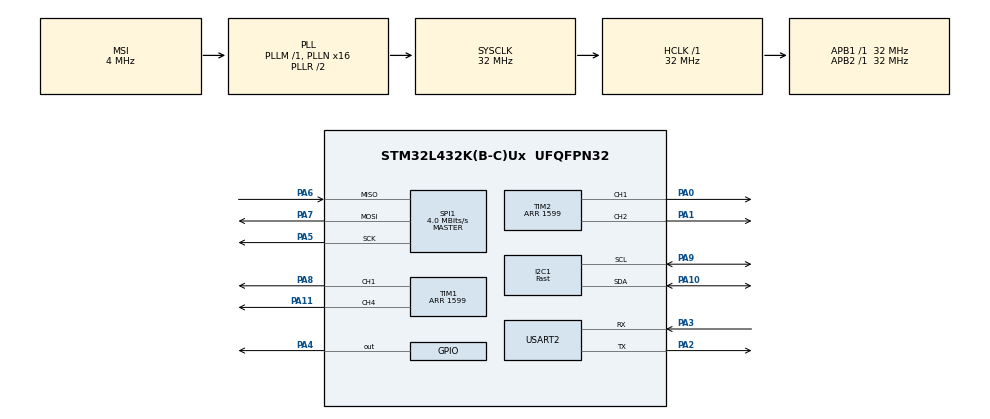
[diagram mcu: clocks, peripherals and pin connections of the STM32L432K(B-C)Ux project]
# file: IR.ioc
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I2C1.I2C_Speed_Mode=I2C_Fast
I2C1.Speed=400
I2C1.Timing=0x0060112F
Mcu.Family=STM32L4
Mcu.Name=STM32L432K(B-C)Ux
Mcu.Package=UFQFPN32
NVIC.PriorityGroup=NVIC_PRIORITYGROUP_4
PA0.Signal=S_TIM2_CH1
PA1.Signal=S_TIM2_CH2
PA10.Mode=I2C
PA10.Signal=I2C1_SDA
PA11.Signal=S_TIM1_CH4
PA2.Mode=Asynchronous
PA2.Signal=USART2_TX
PA3.Mode=Asynchronous
PA3.Signal=USART2_RX
PA4.Signal=GPIO_Output
PA5.Mode=Full_Duplex_Master
PA5.Signal=SPI1_SCK
PA6.Mode=Full_Duplex_Master
PA6.Signal=SPI1_MISO
PA7.Mode=Full_Duplex_Master
PA7.Signal=SPI1_MOSI
PA8.Signal=S_TIM1_CH1
PA9.Mode=I2C
PA9.Signal=I2C1_SCL
ProjectManager.HeapSize=0x200
ProjectManager.StackSize=0x400
ProjectManager.TargetToolchain=STM32CubeIDE
RCC.AHBFreq_Value=32000000
RCC.APB1Freq_Value=32000000
RCC.APB1TimFreq_Value=32000000
RCC.APB2Freq_Value=32000000
RCC.APB2TimFreq_Value=32000000
RCC.CortexFreq_Value=32000000
RCC.HCLKFreq_Value=32000000
RCC.HSE_VALUE=8000000
RCC.HSI16_VALUE=16000000
RCC.HSI48_VALUE=48000000
RCC.HSI_VALUE=16000000
RCC.LSE_VALUE=32768
RCC.MSI_VALUE=4000000
RCC.PLLMUL=RCC_PLLMUL_4
RCC.PLLN=16
RCC.SYSCLKFreq_VALUE=32000000
RCC.SYSCLKSource=RCC_SYSCLKSOURCE_PLLCLK
RCC.VCOOutputFreq_Value=64000000
SH.S_TIM1_CH1.0=TIM1_CH1,PWM Generation1 CH1
SH.S_TIM1_CH4.0=TIM1_CH4,PWM Generation4 CH4
SH.S_TIM2_CH1.0=TIM2_CH1,PWM Generation1 CH1
SH.S_TIM2_CH2.0=TIM2_CH2,PWM Generation2 CH2
SPI1.BaudRatePrescaler=SPI_BAUDRATEPRESCALER_8
SPI1.CLKPhase=SPI_PHASE_2EDGE
SPI1.CLKPolarity=SPI_POLARITY_HIGH
SPI1.CalculateBaudRate=4.0 MBits/s
SPI1.DataSize=SPI_DATASIZE_8BIT
SPI1.Direction=SPI_DIRECTION_2LINES
SPI1.Mode=SPI_MODE_MASTER
SPI1.VirtualType=VM_MASTER
TIM1.Channel-PWM\ Generation1\ CH1=TIM_CHANNEL_1
TIM1.Channel-PWM\ Generation4\ CH4=TIM_CHANNEL_4
TIM1.Period=1599
TIM2.Channel-PWM\ Generation1\ CH1=TIM_CHANNEL_1
TIM2.Channel-PWM\ Generation2\ CH2=TIM_CHANNEL_2
TIM2.Period=1599
USART2.VirtualMode-Asynchronous=VM_ASYNC
VP_TIM1_VS_ClockSourceINT.Mode=Internal
VP_TIM2_VS_ClockSourceINT.Mode=Internal
board=NUCLEO-L432KC

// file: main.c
/* USER CODE BEGIN Header */
/**
  ******************************************************************************
  * @file           : main.c
  * @brief          : Main program body
  ******************************************************************************
  * @attention
  *
  * Copyright (c) 2025 STMicroelectronics.
  * All rights reserved.
  *
  * This software is licensed under terms that can be found in the LICENSE file
  * in the root directory of this software component.
  * If no LICENSE file comes with this software, it is provided AS-IS.
  *
  ******************************************************************************
  */
/* USER CODE END Header */
#include "main.h"
#include <stdio.h>
#include <string.h>
#include <math.h>
#include "VL53L0X/VL53L0X.h"
/* USER CODE BEGIN Includes */
typedef struct {
    float Kp, Ki, Kd;
    float prev_error;
    float integral;
} PID;

float pid_update(PID *pid, float setpoint, float measured, float dt) {
    float error = setpoint - measured;
    pid->integral += error * dt;
    float derivative = (error - pid->prev_error) / dt;
    pid->prev_error = error;
    return pid->Kp * error + pid->Ki * pid->integral + pid->Kd * derivative;
}
/* USER CODE END Includes */

/* USER CODE BEGIN PTD */
#define LSM9DS1_WHO_AM_I        0x0F
#define LSM9DS1_CTRL_REG1_G     0x10
#define LSM9DS1_CTRL_REG2_G     0x11
#define LSM9DS1_CTRL_REG3_G     0x12
#define LSM9DS1_CTRL_REG4_G     0x13
#define LSM9DS1_CTRL_REG5_XL    0x1F
#define LSM9DS1_CTRL_REG6_XL    0x20
#define LSM9DS1_CTRL_REG8       0x22
#define LSM9DS1_OUT_X_L_G            0x18
#define LSM9DS1_OUT_X_L_XL          0x28

#define CS_AG_GPIO_Port GPIOA
#define CS_AG_Pin GPIO_PIN_4

#define LSM9DS1_CS_LOW() HAL_GPIO_WritePin(CS_AG_GPIO_Port, CS_AG_Pin, GPIO_PIN_RESET)
#define LSM9DS1_CS_HIGH() HAL_GPIO_WritePin(CS_AG_GPIO_Port, CS_AG_Pin, GPIO_PIN_SET)
/* USER CODE END PTD */

I2C_HandleTypeDef hi2c1;

SPI_HandleTypeDef hspi1;

TIM_HandleTypeDef htim1;
TIM_HandleTypeDef htim2;

UART_HandleTypeDef huart2;

void SystemClock_Config(void);
static void MX_GPIO_Init(void);
static void MX_USART2_UART_Init(void);
static void MX_I2C1_Init(void);
static void MX_TIM1_Init(void);
static void MX_TIM2_Init(void);
static void MX_SPI1_Init(void);
/* USER CODE BEGIN PFP */
// Function
void LSM9DS1_Init();
void LSM9DS1_Read_Gyro(int16_t *x, int16_t *y, int16_t *z);
void LSM9DS1_Read_Accel(int16_t *x, int16_t *y, int16_t *z);
void LSM9DS1_SPI_Read(uint8_t reg, uint8_t *data);

/* USER CODE END PFP */

int __io_putchar(int ch) {
    HAL_UART_Transmit(&huart2, (uint8_t *)&ch, 1, HAL_MAX_DELAY);
    return ch;
}
int main(void)
{

  /* MCU Configuration--------------------------------------------------------*/

  /* Reset of all peripherals, Initializes the Flash interface and the Systick. */
  HAL_Init();

  /* Configure the system clock */
  SystemClock_Config();

  /* Initialize all configured peripherals */
  MX_GPIO_Init();
  MX_USART2_UART_Init();
  MX_I2C1_Init();
  MX_TIM1_Init();
  MX_TIM2_Init();
  MX_SPI1_Init();
  /* USER CODE BEGIN 2 */
  HAL_TIM_PWM_Start(&htim1, TIM_CHANNEL_1);
  HAL_TIM_PWM_Start(&htim1, TIM_CHANNEL_4);

  HAL_TIM_PWM_Start(&htim2, TIM_CHANNEL_1);
  HAL_TIM_PWM_Start(&htim2, TIM_CHANNEL_2);
  /* USER CODE END 2 */
  HAL_Delay(1000);

    LSM9DS1_Init();

    HAL_Delay(500);

  /* Infinite loop */
  /* USER CODE BEGIN WHILE */

        char uart_msg[128];

        sprintf(uart_msg, "VL53L0X  detected.\r\n");
        HAL_UART_Transmit(&huart2, (uint8_t*)uart_msg, strlen(uart_msg), HAL_MAX_DELAY);

        sprintf(uart_msg, "VL53L0X Test Start\r\n");
        HAL_UART_Transmit(&huart2, (uint8_t*)uart_msg, strlen(uart_msg), HAL_MAX_DELAY);

        if (!initVL53L0X(1, &hi2c1)) {
            sprintf(uart_msg, "VL53L0X init failed!\r\n");
            HAL_UART_Transmit(&huart2, (uint8_t*)uart_msg, strlen(uart_msg), HAL_MAX_DELAY);
            while (1); // stop here if failed
        }

  setMeasurementTimingBudget(50000);

    int16_t ax, ay, az;
    int16_t gx, gy, gz;
    float ax_g, ay_g, az_g;
    char msg[128];
  //  float ax_g, ay_g, az_g;
    float pitch, roll;

    uint16_t pwm_pulse = 5;

    PID altitude_pid = {5.0f, 0.1f, 0.5f, 0, 0};  // test values

    PID pitch_pid    = {1.2f, 0.05f, 0.3f, 0, 0};
    PID roll_pid     = {1.2f, 0.05f, 0.3f, 0, 0};

    float setpoint_alt = 20.0f;   // target hover height in meters
    float setpoint_pitch = 0.0f;   // level pitch
    float setpoint_roll  = 0.0f;   // level roll
    float dt = 0.02f;

   	    HAL_Delay(20000);

  while (1)
  {

//	  HAL_UART_Transmit(&huart2, (uint8_t*)"Waiting 10 sec before liftoff...\r\n", 34, HAL_MAX_DELAY);
//	     HAL_Delay(5000);  // 10 sec

	  LSM9DS1_Read_Gyro(&gx, &gy, &gz);
	        // Read accelerometer and gyroscope data
	     LSM9DS1_Read_Accel(&ax, &ay, &az);

	      // Print the raw accelerometer data
	      sprintf(msg, "RAW ACC X: %d Y:%d Z:%d\r\n", ax, ay, az);
	      HAL_UART_Transmit(&huart2, (uint8_t *)msg, strlen(msg), HAL_MAX_DELAY);

	      // Check if raw values are zero
	      if (ax == 0 && ay == 0 && az == 0) {
	          sprintf(msg, "Warning: Raw values are zero!\r\n");
	          HAL_UART_Transmit(&huart2, (uint8_t *)msg, strlen(msg), HAL_MAX_DELAY);
	      }

	      // If raw values are not zero, perform scaling
	      if (ax!=0 || ay != 0 || az != 0) {
	          // Ensure scaling factor is correctly defined
	          const float scaling_factor = 16384.0f;  // ±2g range scaling factor

	          // Scale raw accelerometer values to 'g' by dividing by the scaling factor
	          ax_g = (float)(ax) / scaling_factor;
	          ay_g = (float)(ay) / scaling_factor;
	          az_g = (float)(az) / scaling_factor;

	          // Print the scaled accelerometer values
	          sprintf(msg, "Scaled ACC X: %.4f Y:%.4f Z:%.4f\r\n", ax_g, ay_g, az_g);
	          HAL_UART_Transmit(&huart2, (uint8_t *)msg, strlen(msg), HAL_MAX_DELAY);
	      }

	      HAL_Delay(50);  // Delay for readability

	         // Calculate pitch and roll
	         pitch = atan2f(ax_g, sqrtf(ay_g * ay_g + az_g * az_g)) * 180.0f / 3.14159265359f;
	         roll = atan2f(ay_g, sqrtf(ax_g * ax_g + az_g * az_g)) * 180.0f / 3.14159265359f;

	         // Print pitch and roll values
	         sprintf(msg, "Pitch: %.2f Roll: %.2f\r\n", pitch, roll);
	         HAL_UART_Transmit(&huart2, (uint8_t*)msg, strlen(msg), HAL_MAX_DELAY);

	         HAL_Delay(50);  // Delay for readability in terminal

	         statInfo_t_VL53L0X stats;

	         uint16_t distance = readRangeSingleMillimeters(&stats);

	  if (timeoutOccurred()) {
		  sprintf(uart_msg, "Sensor timeout!\r\n");
		  HAL_UART_Transmit(&huart2, (uint8_t*)uart_msg, strlen(uart_msg), HAL_MAX_DELAY);
	  } else {
		  snprintf(uart_msg, sizeof(uart_msg),
		           "Distance: %.2f cm | Signal: %u | Ambient: %u | Status: %u\r\n",
		           (float)distance / 10.0f,
		           stats.signalCnt, stats.ambientCnt, stats.rangeStatus);
		  HAL_UART_Transmit(&huart2, (uint8_t*)uart_msg, strlen(uart_msg), HAL_MAX_DELAY);
	  }
HAL_Delay(500);

float altitude = (float)distance / 10.0f;  // 1 cm = 10 mm

// PID updates using cm
float base_throttle = 400.0f + pid_update(&altitude_pid, setpoint_alt, altitude, dt);

float pitch_correction  = pid_update(&pitch_pid, setpoint_pitch, pitch, dt);
float roll_correction   = pid_update(&roll_pid, setpoint_roll, roll, dt);

// Motor mixing (adjust if motor rotation direction differs)
int motor_FL = base_throttle + pitch_correction + roll_correction;
int motor_FR = base_throttle + pitch_correction - roll_correction;
int motor_RL = base_throttle - pitch_correction + roll_correction;
int motor_RR = base_throttle - pitch_correction - roll_correction;

// Clamp PWM between 0 and timer period (1599)
motor_FL = fminf(fmaxf(motor_FL, 0), 1599);
motor_FR = fminf(fmaxf(motor_FR, 0), 1599);
motor_RL = fminf(fmaxf(motor_RL, 0), 1599);
motor_RR = fminf(fmaxf(motor_RR, 0), 1599);

// Apply PWM values to motor channels
__HAL_TIM_SET_COMPARE(&htim1, TIM_CHANNEL_1, motor_FL);
__HAL_TIM_SET_COMPARE(&htim1, TIM_CHANNEL_4, motor_FR);
__HAL_TIM_SET_COMPARE(&htim2, TIM_CHANNEL_1, motor_RL);
__HAL_TIM_SET_COMPARE(&htim2, TIM_CHANNEL_2, motor_RR);

// UART debug log in cm
snprintf(msg, sizeof(msg), "Alt: %.1f cm | Pitch: %.2f Roll: %.2f | FL:%d FR:%d RL:%d RR:%d\r\n",
         altitude, pitch, roll, motor_FL, motor_FR, motor_RL, motor_RR);
HAL_UART_Transmit(&huart2, (uint8_t*)msg, strlen(msg), HAL_MAX_DELAY);

HAL_Delay(20);

//for (int i = 100; i >= 0; i--)
//  {
//      float ramp = i / 100.0f;
//      __HAL_TIM_SET_COMPARE(&htim1, TIM_CHANNEL_1, motor_FL * ramp);
//      __HAL_TIM_SET_COMPARE(&htim1, TIM_CHANNEL_4, motor_FR * ramp);
//      __HAL_TIM_SET_COMPARE(&htim2, TIM_CHANNEL_1, motor_RL * ramp);
//      __HAL_TIM_SET_COMPARE(&htim2, TIM_CHANNEL_2, motor_RR * ramp);
//      HAL_Delay(40);
//  }
//
//__HAL_TIM_SET_COMPARE(&htim1, TIM_CHANNEL_1, 0);
//   __HAL_TIM_SET_COMPARE(&htim1, TIM_CHANNEL_4, 0);
//   __HAL_TIM_SET_COMPARE(&htim2, TIM_CHANNEL_1, 0);
//   __HAL_TIM_SET_COMPARE(&htim2, TIM_CHANNEL_2, 0);

    /* USER CODE END WHILE */

  }
}

void SystemClock_Config(void)
{
  RCC_OscInitTypeDef RCC_OscInitStruct = {0};
  RCC_ClkInitTypeDef RCC_ClkInitStruct = {0};

  /** Configure the main internal regulator output voltage
  */
  if (HAL_PWREx_ControlVoltageScaling(PWR_REGULATOR_VOLTAGE_SCALE1) != HAL_OK)
  {
    Error_Handler();
  }

  /** Initializes the RCC Oscillators according to the specified parameters
  * in the RCC_OscInitTypeDef structure.
  */
  RCC_OscInitStruct.OscillatorType = RCC_OSCILLATORTYPE_MSI;
  RCC_OscInitStruct.MSIState = RCC_MSI_ON;
  RCC_OscInitStruct.MSICalibrationValue = 0;
  RCC_OscInitStruct.MSIClockRange = RCC_MSIRANGE_6;
  RCC_OscInitStruct.PLL.PLLState = RCC_PLL_ON;
  RCC_OscInitStruct.PLL.PLLSource = RCC_PLLSOURCE_MSI;
  RCC_OscInitStruct.PLL.PLLM = 1;
  RCC_OscInitStruct.PLL.PLLN = 16;
  RCC_OscInitStruct.PLL.PLLP = RCC_PLLP_DIV7;
  RCC_OscInitStruct.PLL.PLLQ = RCC_PLLQ_DIV2;
  RCC_OscInitStruct.PLL.PLLR = RCC_PLLR_DIV2;
  if (HAL_RCC_OscConfig(&RCC_OscInitStruct) != HAL_OK)
  {
    Error_Handler();
  }

  /** Initializes the CPU, AHB and APB buses clocks
  */
  RCC_ClkInitStruct.ClockType = RCC_CLOCKTYPE_HCLK|RCC_CLOCKTYPE_SYSCLK
                              |RCC_CLOCKTYPE_PCLK1|RCC_CLOCKTYPE_PCLK2;
  RCC_ClkInitStruct.SYSCLKSource = RCC_SYSCLKSOURCE_PLLCLK;
  RCC_ClkInitStruct.AHBCLKDivider = RCC_SYSCLK_DIV1;
  RCC_ClkInitStruct.APB1CLKDivider = RCC_HCLK_DIV1;
  RCC_ClkInitStruct.APB2CLKDivider = RCC_HCLK_DIV1;

  if (HAL_RCC_ClockConfig(&RCC_ClkInitStruct, FLASH_LATENCY_1) != HAL_OK)
  {
    Error_Handler();
  }
}

static void MX_I2C1_Init(void)
{

  hi2c1.Instance = I2C1;
  hi2c1.Init.Timing = 0x0060112F;
  hi2c1.Init.OwnAddress1 = 0;
  hi2c1.Init.AddressingMode = I2C_ADDRESSINGMODE_7BIT;
  hi2c1.Init.DualAddressMode = I2C_DUALADDRESS_DISABLE;
  hi2c1.Init.OwnAddress2 = 0;
  hi2c1.Init.OwnAddress2Masks = I2C_OA2_NOMASK;
  hi2c1.Init.GeneralCallMode = I2C_GENERALCALL_DISABLE;
  hi2c1.Init.NoStretchMode = I2C_NOSTRETCH_DISABLE;
  if (HAL_I2C_Init(&hi2c1) != HAL_OK)
  {
    Error_Handler();
  }

  /** Configure Analogue filter
  */
  if (HAL_I2CEx_ConfigAnalogFilter(&hi2c1, I2C_ANALOGFILTER_ENABLE) != HAL_OK)
  {
    Error_Handler();
  }

  /** Configure Digital filter
  */
  if (HAL_I2CEx_ConfigDigitalFilter(&hi2c1, 0) != HAL_OK)
  {
    Error_Handler();
  }

}

static void MX_SPI1_Init(void)
{

  /* SPI1 parameter configuration*/
  hspi1.Instance = SPI1;
  hspi1.Init.Mode = SPI_MODE_MASTER;
  hspi1.Init.Direction = SPI_DIRECTION_2LINES;
  hspi1.Init.DataSize = SPI_DATASIZE_8BIT;
  hspi1.Init.CLKPolarity = SPI_POLARITY_HIGH;
  hspi1.Init.CLKPhase = SPI_PHASE_2EDGE;
  hspi1.Init.NSS = SPI_NSS_SOFT;
  hspi1.Init.BaudRatePrescaler = SPI_BAUDRATEPRESCALER_8;
  hspi1.Init.FirstBit = SPI_FIRSTBIT_MSB;
  hspi1.Init.TIMode = SPI_TIMODE_DISABLE;
  hspi1.Init.CRCCalculation = SPI_CRCCALCULATION_DISABLE;
  hspi1.Init.CRCPolynomial = 7;
  hspi1.Init.CRCLength = SPI_CRC_LENGTH_DATASIZE;
  hspi1.Init.NSSPMode = SPI_NSS_PULSE_DISABLE;
  if (HAL_SPI_Init(&hspi1) != HAL_OK)
  {
    Error_Handler();
  }

}

static void MX_TIM1_Init(void)
{

  TIM_ClockConfigTypeDef sClockSourceConfig = {0};
  TIM_MasterConfigTypeDef sMasterConfig = {0};
  TIM_OC_InitTypeDef sConfigOC = {0};
  TIM_BreakDeadTimeConfigTypeDef sBreakDeadTimeConfig = {0};

  htim1.Instance = TIM1;
  htim1.Init.Prescaler = 0;
  htim1.Init.CounterMode = TIM_COUNTERMODE_UP;
  htim1.Init.Period = 1599;
  htim1.Init.ClockDivision = TIM_CLOCKDIVISION_DIV1;
  htim1.Init.RepetitionCounter = 0;
  htim1.Init.AutoReloadPreload = TIM_AUTORELOAD_PRELOAD_DISABLE;
  if (HAL_TIM_Base_Init(&htim1) != HAL_OK)
  {
    Error_Handler();
  }
  sClockSourceConfig.ClockSource = TIM_CLOCKSOURCE_INTERNAL;
  if (HAL_TIM_ConfigClockSource(&htim1, &sClockSourceConfig) != HAL_OK)
  {
    Error_Handler();
  }
  if (HAL_TIM_PWM_Init(&htim1) != HAL_OK)
  {
    Error_Handler();
  }
  sMasterConfig.MasterOutputTrigger = TIM_TRGO_RESET;
  sMasterConfig.MasterOutputTrigger2 = TIM_TRGO2_RESET;
  sMasterConfig.MasterSlaveMode = TIM_MASTERSLAVEMODE_DISABLE;
  if (HAL_TIMEx_MasterConfigSynchronization(&htim1, &sMasterConfig) != HAL_OK)
  {
    Error_Handler();
  }
  sConfigOC.OCMode = TIM_OCMODE_PWM1;
  sConfigOC.Pulse = 0;
  sConfigOC.OCPolarity = TIM_OCPOLARITY_HIGH;
  sConfigOC.OCNPolarity = TIM_OCNPOLARITY_HIGH;
  sConfigOC.OCFastMode = TIM_OCFAST_DISABLE;
  sConfigOC.OCIdleState = TIM_OCIDLESTATE_RESET;
  sConfigOC.OCNIdleState = TIM_OCNIDLESTATE_RESET;
  if (HAL_TIM_PWM_ConfigChannel(&htim1, &sConfigOC, TIM_CHANNEL_1) != HAL_OK)
  {
    Error_Handler();
  }
  if (HAL_TIM_PWM_ConfigChannel(&htim1, &sConfigOC, TIM_CHANNEL_4) != HAL_OK)
  {
    Error_Handler();
  }
  sBreakDeadTimeConfig.OffStateRunMode = TIM_OSSR_DISABLE;
  sBreakDeadTimeConfig.OffStateIDLEMode = TIM_OSSI_DISABLE;
  sBreakDeadTimeConfig.LockLevel = TIM_LOCKLEVEL_OFF;
  sBreakDeadTimeConfig.DeadTime = 0;
  sBreakDeadTimeConfig.BreakState = TIM_BREAK_DISABLE;
  sBreakDeadTimeConfig.BreakPolarity = TIM_BREAKPOLARITY_HIGH;
  sBreakDeadTimeConfig.BreakFilter = 0;
  sBreakDeadTimeConfig.Break2State = TIM_BREAK2_DISABLE;
  sBreakDeadTimeConfig.Break2Polarity = TIM_BREAK2POLARITY_HIGH;
  sBreakDeadTimeConfig.Break2Filter = 0;
  sBreakDeadTimeConfig.AutomaticOutput = TIM_AUTOMATICOUTPUT_DISABLE;
  if (HAL_TIMEx_ConfigBreakDeadTime(&htim1, &sBreakDeadTimeConfig) != HAL_OK)
  {
    Error_Handler();
  }
  HAL_TIM_MspPostInit(&htim1);

}

static void MX_TIM2_Init(void)
{

  TIM_ClockConfigTypeDef sClockSourceConfig = {0};
  TIM_MasterConfigTypeDef sMasterConfig = {0};
  TIM_OC_InitTypeDef sConfigOC = {0};

  htim2.Instance = TIM2;
  htim2.Init.Prescaler = 0;
  htim2.Init.CounterMode = TIM_COUNTERMODE_UP;
  htim2.Init.Period = 1599;
  htim2.Init.ClockDivision = TIM_CLOCKDIVISION_DIV1;
  htim2.Init.AutoReloadPreload = TIM_AUTORELOAD_PRELOAD_DISABLE;
  if (HAL_TIM_Base_Init(&htim2) != HAL_OK)
  {
    Error_Handler();
  }
  sClockSourceConfig.ClockSource = TIM_CLOCKSOURCE_INTERNAL;
  if (HAL_TIM_ConfigClockSource(&htim2, &sClockSourceConfig) != HAL_OK)
  {
    Error_Handler();
  }
  if (HAL_TIM_PWM_Init(&htim2) != HAL_OK)
  {
    Error_Handler();
  }
  sMasterConfig.MasterOutputTrigger = TIM_TRGO_RESET;
  sMasterConfig.MasterSlaveMode = TIM_MASTERSLAVEMODE_DISABLE;
  if (HAL_TIMEx_MasterConfigSynchronization(&htim2, &sMasterConfig) != HAL_OK)
  {
    Error_Handler();
  }
  sConfigOC.OCMode = TIM_OCMODE_PWM1;
  sConfigOC.Pulse = 0;
  sConfigOC.OCPolarity = TIM_OCPOLARITY_HIGH;
  sConfigOC.OCFastMode = TIM_OCFAST_DISABLE;
  if (HAL_TIM_PWM_ConfigChannel(&htim2, &sConfigOC, TIM_CHANNEL_1) != HAL_OK)
  {
    Error_Handler();
  }
  if (HAL_TIM_PWM_ConfigChannel(&htim2, &sConfigOC, TIM_CHANNEL_2) != HAL_OK)
  {
    Error_Handler();
  }
  HAL_TIM_MspPostInit(&htim2);

}

static void MX_USART2_UART_Init(void)
{

  huart2.Instance = USART2;
  huart2.Init.BaudRate = 115200;
  huart2.Init.WordLength = UART_WORDLENGTH_8B;
  huart2.Init.StopBits = UART_STOPBITS_1;
  huart2.Init.Parity = UART_PARITY_NONE;
  huart2.Init.Mode = UART_MODE_TX_RX;
  huart2.Init.HwFlowCtl = UART_HWCONTROL_NONE;
  huart2.Init.OverSampling = UART_OVERSAMPLING_16;
  huart2.Init.OneBitSampling = UART_ONE_BIT_SAMPLE_DISABLE;
  huart2.AdvancedInit.AdvFeatureInit = UART_ADVFEATURE_NO_INIT;
  if (HAL_UART_Init(&huart2) != HAL_OK)
  {
    Error_Handler();
  }

}

static void MX_GPIO_Init(void)
{
  GPIO_InitTypeDef GPIO_InitStruct = {0};

  /* GPIO Ports Clock Enable */
  __HAL_RCC_GPIOA_CLK_ENABLE();

  /*Configure GPIO pin Output Level */
  HAL_GPIO_WritePin(GPIOA, GPIO_PIN_4, GPIO_PIN_RESET);

  /*Configure GPIO pin : PA4 */
  GPIO_InitStruct.Pin = GPIO_PIN_4;
  GPIO_InitStruct.Mode = GPIO_MODE_OUTPUT_PP;
  GPIO_InitStruct.Pull = GPIO_NOPULL;
  GPIO_InitStruct.Speed = GPIO_SPEED_FREQ_LOW;
  HAL_GPIO_Init(GPIOA, &GPIO_InitStruct);

  /* USER CODE BEGIN MX_GPIO_Init_2 */
  HAL_GPIO_WritePin(GPIOA, GPIO_PIN_4, GPIO_PIN_SET);
    GPIO_InitStruct.Pin = GPIO_PIN_4;
    GPIO_InitStruct.Mode = GPIO_MODE_OUTPUT_PP;
    GPIO_InitStruct.Pull = GPIO_NOPULL;
    GPIO_InitStruct.Speed = GPIO_SPEED_FREQ_LOW;
    HAL_GPIO_Init(GPIOA, &GPIO_InitStruct);
  /* USER CODE END MX_GPIO_Init_2 */
}

/* USER CODE BEGIN 4 */

void LSM9DS1_SPI_Write(uint8_t reg, uint8_t data) {
	uint8_t tx[2] = { reg & 0x7F, data };
	LSM9DS1_CS_LOW();
	HAL_SPI_Transmit(&hspi1, tx, 2, HAL_MAX_DELAY);
	LSM9DS1_CS_HIGH();
}

void LSM9DS1_SPI_Read(uint8_t reg, uint8_t *data) {
	uint8_t tx = reg | 0x80; // MSB=1 for read
	LSM9DS1_CS_LOW();
	HAL_SPI_Transmit(&hspi1, &tx, 1, HAL_MAX_DELAY);
	HAL_SPI_Receive(&hspi1, data, 1, HAL_MAX_DELAY);
	LSM9DS1_CS_HIGH();
}

void LSM9DS1_Read_Accel(int16_t *x, int16_t *y, int16_t *z) {
    uint8_t buffer[6];
    uint8_t reg = LSM9DS1_OUT_X_L_XL | 0x80; // OUT_X_L_XL, auto-increment
    LSM9DS1_CS_LOW();
    HAL_SPI_Transmit(&hspi1, &reg, 1, HAL_MAX_DELAY);
    HAL_SPI_Receive(&hspi1, buffer, 6, HAL_MAX_DELAY);
    LSM9DS1_CS_HIGH();

    *x = (int16_t)(buffer[1] << 8 | buffer[0]);
    *y = (int16_t)(buffer[3] << 8 | buffer[2]);
    *z = (int16_t)(buffer[5] << 8 | buffer[4]);
}

void LSM9DS1_Read_Gyro(int16_t *x, int16_t *y, int16_t *z) {
    uint8_t buffer[6];
    uint8_t reg = LSM9DS1_OUT_X_L_G	 | 0x80; // OUT_X_L_G, auto-increment
    LSM9DS1_CS_LOW();
    HAL_SPI_Transmit(&hspi1, &reg, 1, HAL_MAX_DELAY);
    HAL_SPI_Receive(&hspi1, buffer, 6, HAL_MAX_DELAY);
    LSM9DS1_CS_HIGH();

    *x = (int16_t)(buffer[1] << 8 | buffer[0]);
    *y = (int16_t)(buffer[3] << 8 | buffer[2]);
    *z = (int16_t)(buffer[5] << 8 | buffer[4]);
}

void LSM9DS1_Init() {
    char uart_msg[64];
    uint8_t who_am_i = 0;

    // 1. Soft reset & reboot
    LSM9DS1_SPI_Write(LSM9DS1_CTRL_REG8, 0x05);  // CTRL_REG8 = 0x05

    HAL_Delay(10);  // wait for reset

    // 2. WHO_AM_I check
    LSM9DS1_SPI_Read(0x0F, &who_am_i);
    sprintf(uart_msg, "WHO_AM_I: 0x%02X\r\n", who_am_i);
    HAL_UART_Transmit(&huart2, (uint8_t*)uart_msg, strlen(uart_msg), HAL_MAX_DELAY);

    if (who_am_i != 0x68 && who_am_i != 0x6A) {
        sprintf(uart_msg, "LSM9DS1 not found!\r\n");
        HAL_UART_Transmit(&huart2, (uint8_t*)uart_msg, strlen(uart_msg), HAL_MAX_DELAY);
        return;
    }

    sprintf(uart_msg, "LSM9DS1 detected.\r\n");
    HAL_UART_Transmit(&huart2, (uint8_t*)uart_msg, strlen(uart_msg), HAL_MAX_DELAY);

    // 3. Enable gyroscope (CTRL_REG1_G)
    LSM9DS1_SPI_Write(LSM9DS1_CTRL_REG1_G, 0xC0);  // 952 Hz, 245 dps, all axes

    // 4. Enable accelerometer axes (CTRL_REG5_XL)
    LSM9DS1_SPI_Write(LSM9DS1_CTRL_REG5_XL, 0x38);  // Enable X, Y, Z

    // 5. Set accelerometer ODR & bandwidth (CTRL_REG6_XL)
    LSM9DS1_SPI_Write(LSM9DS1_CTRL_REG6_XL, 0xC0);  // 952 Hz ODR, 2g, 408 Hz AA BW

    // Enable Block Data Update & little endian format for XL
    LSM9DS1_SPI_Write(LSM9DS1_CTRL_REG8, 0x44);  // CTRL_REG8: BDU=1, IF_ADD_INC=1

    sprintf(uart_msg, "LSM9DS1 Initialization Complete.\r\n\n");
    HAL_UART_Transmit(&huart2, (uint8_t*)uart_msg, strlen(uart_msg), HAL_MAX_DELAY);

    // Optional: CTRL_REG8 again (in case soft reset cleared stuff)
    //LSM9DS1_SPI_Write(0x22, 0x05);  // not needed here anymore
}
/* USER CODE END 4 */

void Error_Handler(void)
{
  __disable_irq();
  while (1)
  {
  }
}
